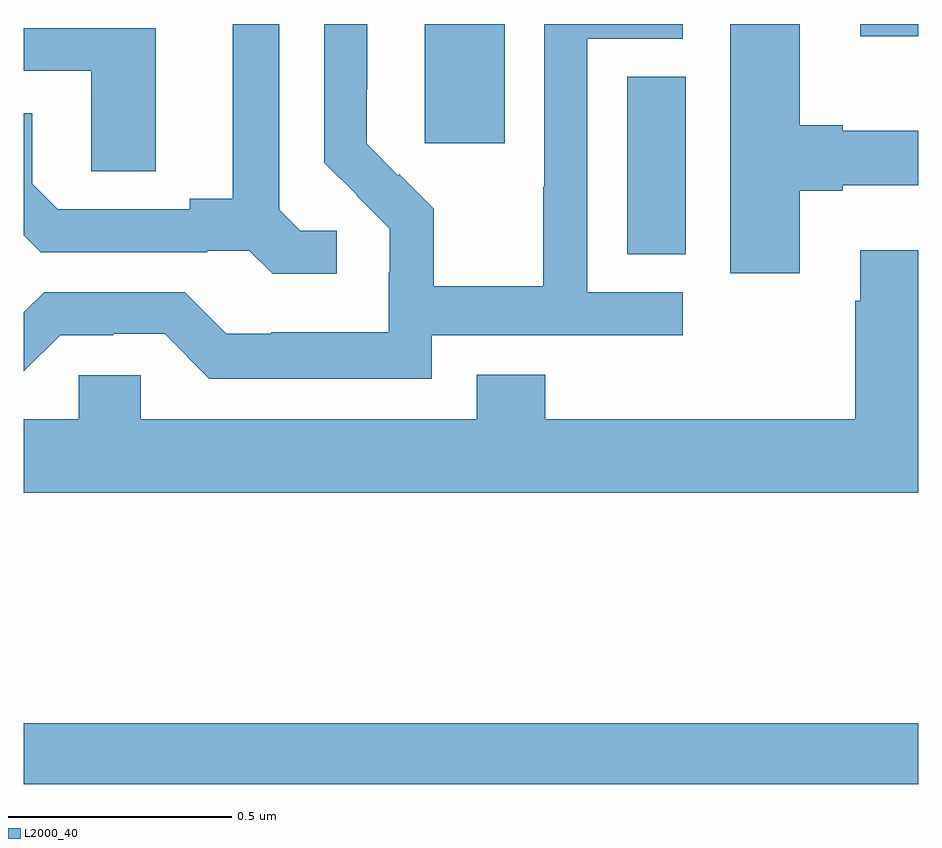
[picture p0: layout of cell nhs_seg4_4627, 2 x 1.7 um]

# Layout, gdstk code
import gdstk
lib = gdstk.Library(unit=1e-6, precision=1e-09)
def R(c, l, rs):  # rectangles x0, y0, x1, y1
    for r in rs: c.add(gdstk.rectangle(r[:2], r[2:], *l))
def P(c, l, *ps):  # polygons
    for p in ps: c.add(gdstk.Polygon(p, *l))
L2000_40 = (2000, 40)

nhs_seg4_4627 = lib.new_cell('nhs_seg4_4627')
R(nhs_seg4_4627, L2000_40, [(168,764.2,170,764.336), (169.349,765.385,169.48,765.782), (168.896,765.633,169.075,765.9), (169.871,765.873,170,765.9)])
P(nhs_seg4_4627, L2000_40, [(169.735,765.527),(169.831,765.527),(169.831,765.539),(170,765.539),(170,765.661),(169.831,765.661),(169.831,765.674),(169.735,765.674),(169.735,765.9),(169.58,765.9),(169.58,765.342),(169.735,765.342)],
  [(168.912,765.204),(169.474,765.204),(169.474,765.3),(169.26,765.3),(169.26,765.867),(169.474,765.867),(169.474,765.9),(169.164,765.9),(169.164,765.536),(169.162,765.536),(169.162,765.313),(168.917,765.313),(168.917,765.487),(168.84,765.564),(168.837,765.561),(168.767,765.632),(168.767,765.754),(168.768,765.754),(168.768,765.9),(168.672,765.9),(168.672,765.59),(168.745,765.517),(168.744,765.516),(168.818,765.442),(168.818,765.345),(168.816,765.345),(168.816,765.211),(168.553,765.211),(168.553,765.207),(168.453,765.207),(168.36,765.3),(168.045,765.3),(168,765.255),(168,765.123),(168.081,765.204),(168.2,765.204),(168.2,765.207),(168.315,765.207),(168.415,765.107),(168.912,765.107)],
  [(168.7,765.438),(168.618,765.438),(168.571,765.485),(168.571,765.9),(168.467,765.9),(168.467,765.509),(168.371,765.509),(168.371,765.486),(168.076,765.486),(168.019,765.543),(168.019,765.7),(168,765.7),(168,765.428),(168.038,765.39),(168.41,765.39),(168.41,765.393),(168.504,765.393),(168.556,765.341),(168.7,765.341)],
  [(168.295,765.891),(168,765.891),(168,765.795),(168.15,765.795),(168.15,765.571),(168.295,765.571)],
  [(170,765.394),(169.871,765.394),(169.871,765.281),(169.859,765.281),(169.859,765.016),(169.166,765.016),(169.166,765.115),(169.013,765.115),(169.013,765.016),(168.261,765.016),(168.261,765.114),(168.123,765.114),(168.123,765.016),(168,765.016),(168,764.852),(170,764.852)])

lib.write_gds('nhs_seg4_4627.gds')
